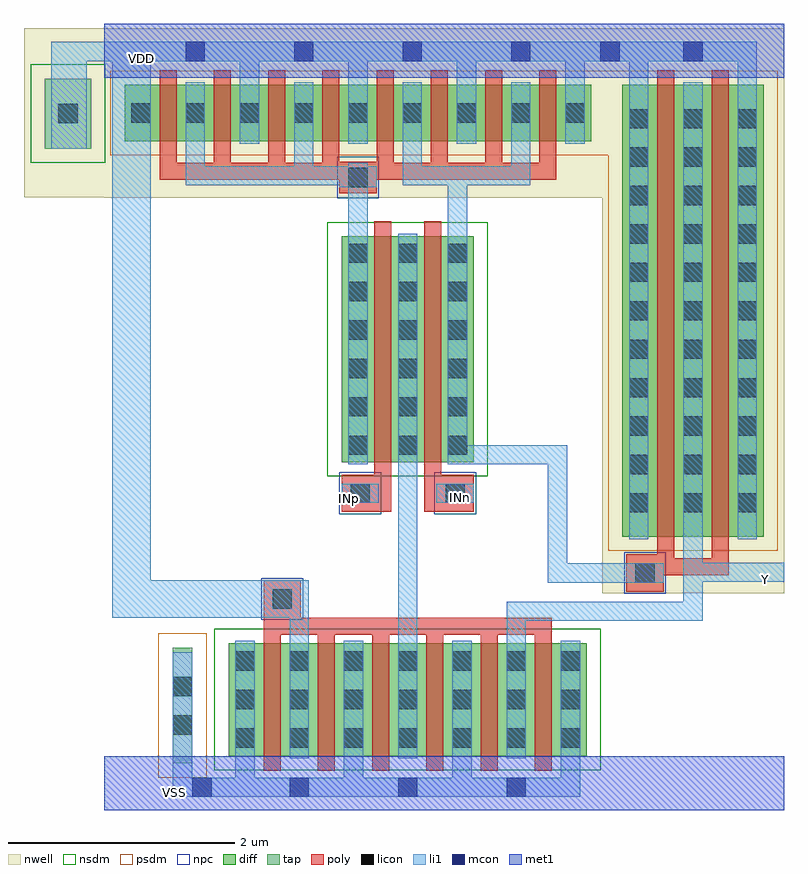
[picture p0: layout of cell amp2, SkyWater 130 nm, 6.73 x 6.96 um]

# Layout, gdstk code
from math import pi, radians
import gdstk
lib = gdstk.Library(unit=1e-6, precision=1e-09)
def R(c, l, rs):  # rectangles x0, y0, x1, y1
    for r in rs: c.add(gdstk.rectangle(r[:2], r[2:], *l))
def A(c, l, x, y, w, h, nx, ny, dx, dy):  # array of equal rectangles
    R(c, l, [(x+i*dx, y+j*dy, x+i*dx+w, y+j*dy+h) for i in range(nx) for j in range(ny)])
nwell = (64, 20)
diff = (65, 20)
tap = (65, 44)
poly = (66, 20)
licon = (66, 44)
li1 = (67, 20)
mcon = (67, 44)
met1 = (68, 20)
nsdm = (93, 44)
psdm = (94, 20)
npc = (95, 20)

sky130_fd_pr__nfet_01v8_ = lib.new_cell('sky130_fd_pr__nfet_01v8_PL7QEV')
R(sky130_fd_pr__nfet_01v8_, diff, [(-0.625,-0.5,0.625,0.5)])
R(sky130_fd_pr__nfet_01v8_, poly, [(-0.315,-0.725,0.315,-0.575), (-0.315,-0.575,-0.165,0.63), (0.165,-0.575,0.315,0.63)])
A(sky130_fd_pr__nfet_01v8_, licon, -0.565, -0.425, 0.17, 0.17, 3, 3, 0.48, 0.34)
R(sky130_fd_pr__nfet_01v8_, li1, [(-0.565,-0.52,-0.395,0.69), (-0.085,-0.52,0.085,0.52), (0.395,-0.52,0.565,0.69), (-0.565,0.69,0.565,0.86)])
R(sky130_fd_pr__nfet_01v8_, nsdm, [(-0.75,-0.625,0.75,0.625)])

sky130_fd_pr__pfet_01v8_ = lib.new_cell('sky130_fd_pr__pfet_01v8_XGEZDL')
R(sky130_fd_pr__pfet_01v8_, nwell, [(-0.805,-2.5,0.805,2.5)])
R(sky130_fd_pr__pfet_01v8_, diff, [(-0.625,-2,0.625,2)])
R(sky130_fd_pr__pfet_01v8_, poly, [(-0.59,-2.485,-0.26,-2.34), (-0.59,-2.34,0.315,-2.19), (-0.59,-2.19,-0.165,-2.155), (0.165,-2.19,0.315,2.13), (-0.315,-2.155,-0.165,2.13)])
A(sky130_fd_pr__pfet_01v8_, licon, -0.565, -1.785, 0.17, 0.17, 3, 11, 0.48, 0.34)
R(sky130_fd_pr__pfet_01v8_, licon, [(-0.51,-2.405,-0.34,-2.235)])
R(sky130_fd_pr__pfet_01v8_, li1, [(-0.59,-2.405,-0.26,-2.235), (-0.085,-2.4,0.625,-2.23), (-0.085,-2.23,0.085,2.02), (-0.565,-2.02,-0.395,2.21), (0.395,-2.02,0.565,2.21), (-0.565,2.21,0.565,2.38)])
R(sky130_fd_pr__pfet_01v8_, psdm, [(-0.75,-2.125,0.75,2.125)])
R(sky130_fd_pr__pfet_01v8_, npc, [(-0.61,-2.505,-0.24,-2.135)])

c_sky130_fd_pr__pfet_01v8_ = lib.new_cell('sky130_fd_pr__pfet_01v8_XJKEBL')
R(c_sky130_fd_pr__pfet_01v8_, nwell, [(-1.285,-0.75,1.285,0.75)])
R(c_sky130_fd_pr__pfet_01v8_, diff, [(-1.105,-0.25,1.105,0.25)])
A(c_sky130_fd_pr__pfet_01v8_, poly, -0.795, -0.44, 0.15, 0.82, 3, 1, 0.48, 0)
R(c_sky130_fd_pr__pfet_01v8_, poly, [(0.795,-0.71,1.125,-0.59), (-0.795,-0.59,1.125,-0.44), (0.645,-0.44,1.125,-0.43), (0.645,-0.43,0.795,0.38)])
A(c_sky130_fd_pr__pfet_01v8_, licon, -1.045, -0.085, 0.17, 0.17, 5, 1, 0.48, 0)
R(c_sky130_fd_pr__pfet_01v8_, licon, [(0.875,-0.655,1.045,-0.485)])
A(c_sky130_fd_pr__pfet_01v8_, li1, -1.045, -0.27, 0.17, 0.73, 3, 1, 0.96, 0)
R(c_sky130_fd_pr__pfet_01v8_, li1, [(0.795,-0.655,1.125,-0.485), (-0.565,-0.64,0.565,-0.47), (-0.565,-0.47,-0.395,0.27), (0.395,-0.47,0.565,0.27), (-1.045,0.46,1.045,0.63)])
R(c_sky130_fd_pr__pfet_01v8_, psdm, [(-1.23,-0.375,1.23,0.375)])
R(c_sky130_fd_pr__pfet_01v8_, npc, [(0.775,-0.755,1.145,-0.385)])

c_sky130_fd_pr__nfet_01v8_ = lib.new_cell('sky130_fd_pr__nfet_01v8_J2SMEF')
R(c_sky130_fd_pr__nfet_01v8_, diff, [(-0.365,-1,0.365,1)])
R(c_sky130_fd_pr__nfet_01v8_, poly, [(-0.365,-1.44,0.075,-1.11), (-0.075,-1.11,0.075,1.13)])
A(c_sky130_fd_pr__nfet_01v8_, licon, -0.305, -0.935, 0.17, 0.17, 1, 6, 0, 0.34)
A(c_sky130_fd_pr__nfet_01v8_, licon, 0.135, -0.935, 0.17, 0.17, 1, 6, 0, 0.34)
R(c_sky130_fd_pr__nfet_01v8_, licon, [(-0.285,-1.36,-0.115,-1.19)])
R(c_sky130_fd_pr__nfet_01v8_, li1, [(-0.365,-1.36,-0.035,-1.19), (-0.305,-1.02,-0.135,1.02), (0.135,-1.02,0.305,1.02)])
R(c_sky130_fd_pr__nfet_01v8_, nsdm, [(-0.49,-1.125,0.49,1.125)])
R(c_sky130_fd_pr__nfet_01v8_, npc, [(-0.385,-1.46,-0.015,-1.09)])

amp2 = lib.new_cell('amp2')
R(amp2, nwell, [(-0.71,3.005,0.29,4.5)])
R(amp2, tap, [(0.605,-2.005,0.78,-0.98), (-0.525,3.435,-0.115,4.055)])
R(amp2, poly, [(1.41,-0.865,3.96,-0.715), (1.41,-0.715,1.74,-0.385), (2.08,3.04,2.41,3.32)])
R(amp2, licon, [(0.605,-1.75,0.775,-1.58), (0.605,-1.41,0.775,-1.24), (1.49,-0.635,1.66,-0.465), (-0.405,3.66,-0.235,3.83)])
A(amp2, li1, 1.64, -2.3, 0.17, 0.17, 3, 1, 0.96, 0)
A(amp2, li1, 0.72, 4.21, 0.17, 0.17, 4, 1, 0.96, 0)
R(amp2, li1, [(0.605,-2.3,1.33,-2.13), (0.605,-2.13,0.78,-1.02), (1.64,-1.005,1.81,-0.715), (3.56,-1,3.73,-0.745), (2.6,-0.945,2.77,0.72), (3.56,-0.745,5.295,-0.575), (0.07,-0.715,1.81,-0.385), (5.125,-0.575,5.295,-0.4), (3.925,-0.405,4.875,-0.235), (5.125,-0.4,6.015,-0.23), (0.07,-0.385,0.41,3.525), (3.925,-0.235,4.095,0.64), (5.125,-0.23,5.295,0.075), (2.1,0.3,2.43,0.47), (2.94,0.3,3.27,0.47), (3.04,0.64,4.095,0.81), (2.16,2.6,2.33,3.11), (3.04,2.6,3.21,3.28), (1.68,3.11,2.41,3.28), (2.16,3.28,2.33,3.31), (-0.47,3.435,-0.155,4.21), (0.07,3.525,0.405,4.21), (-0.47,4.21,0.665,4.38), (4.08,4.21,4.815,4.38), (5.125,4.21,5.295,4.38)])
A(amp2, mcon, 1.64, -2.3, 0.17, 0.17, 3, 1, 0.96, 0)
A(amp2, mcon, 0.72, 4.21, 0.17, 0.17, 4, 1, 0.96, 0)
R(amp2, mcon, [(0.78,-2.3,0.95,-2.13), (4.39,4.21,4.56,4.38), (5.125,4.21,5.295,4.38)])
R(amp2, met1, [(0,-2.42,6.015,-1.94), (0,4.06,6.015,4.54)])
R(amp2, nsdm, [(-0.65,3.31,0.01,4.18)])
R(amp2, psdm, [(0.48,-2.13,0.905,-0.855), (4.435,3.375,4.46,4.125)])
R(amp2, npc, [(1.39,-0.735,1.76,-0.365)])
amp2.add(gdstk.Reference(sky130_fd_pr__nfet_01v8_, (2.685,-1.44), x_reflection=True))
amp2.add(gdstk.Reference(sky130_fd_pr__nfet_01v8_, (3.645,-1.44), x_reflection=True))
amp2.add(gdstk.Reference(sky130_fd_pr__pfet_01v8_, (5.21,2)))
amp2.add(gdstk.Reference(c_sky130_fd_pr__pfet_01v8_, (3.205,3.75), rotation=pi, x_reflection=True))
amp2.add(gdstk.Reference(c_sky130_fd_pr__nfet_01v8_, (2.905,1.66), rotation=pi, x_reflection=True))
amp2.add(gdstk.Reference(c_sky130_fd_pr__pfet_01v8_, (1.285,3.75)))
amp2.add(gdstk.Reference(sky130_fd_pr__nfet_01v8_, (1.725,-1.44), x_reflection=True))
amp2.add(gdstk.Reference(c_sky130_fd_pr__nfet_01v8_, (2.465,1.66)))
amp2.add(gdstk.Label('Y', (5.85,-0.38), layer=67, texttype=5))
amp2.add(gdstk.Label('VSS', (0.62,-2.26), layer=68, texttype=5))
amp2.add(gdstk.Label('INp', (2.17,0.34), layer=67, texttype=5))
amp2.add(gdstk.Label('INn', (3.15,0.35), layer=67, texttype=5))
amp2.add(gdstk.Label('VDD', (0.33,4.23), layer=68, texttype=5))

lib.write_gds('amp2.gds')
